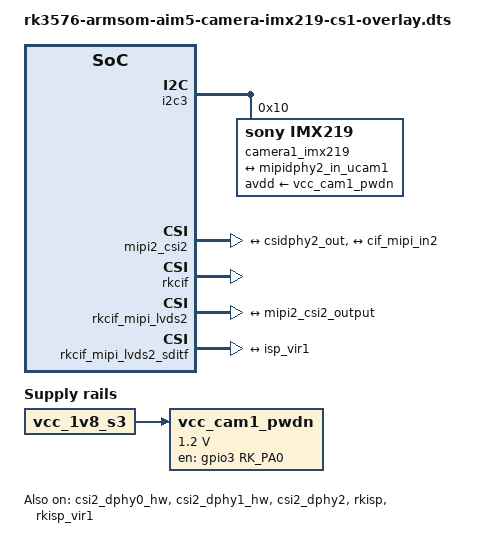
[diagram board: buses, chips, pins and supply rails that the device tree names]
/dts-v1/;
/plugin/;

#include <dt-bindings/clock/rockchip,rk3576-cru.h>
#include <dt-bindings/power/rk3576-power.h>
#include <dt-bindings/gpio/gpio.h>
#include <dt-bindings/pinctrl/rockchip.h>

/ {
	fragment@0 {
		target-path = "/";
		__overlay__ {
			vcc_cam1_pwdn: vcc-cam1-pwdn {
                compatible = "regulator-fixed";
                regulator-name = "vcc_cam1_pwdn";
                regulator-min-microvolt = <1200000>;
                regulator-max-microvolt = <1200000>;
                regulator-boot-on;
                regulator-always-on;
                enable-active-high;
                vin-supply = <&vcc_1v8_s3>;
                gpio = <&gpio3 RK_PA0 GPIO_ACTIVE_HIGH>;
            };
		};
	};
	
	fragment@1 {
		target = <&i2c3>;
		__overlay__ {
			status = "okay";
            pinctrl-names = "default";
            pinctrl-0 = <&i2c3m1_xfer>;
            #address-cells = <1>;
            #size-cells = <0>;

            camera1_imx219: camera1-imx219@10 {
                status = "okay";
                compatible = "sony,imx219";
                reg = <0x10>;
                clocks = <&cru CLK_MIPI_CAMERAOUT_M1>;
                clock-names = "xvclk";
                pinctrl-names = "rockchip,camera_default";
                pinctrl-0 = <&cam_clk1m1_clk1>;
                avdd-supply = <&vcc_cam1_pwdn>;
                rockchip,camera-module-index = <1>;
                rockchip,camera-module-facing = "back";
                rockchip,camera-module-name = "rpi-camera-v2";
                rockchip,camera-module-lens-name = "default";
                port {
                    imx219_out1: endpoint {
                        remote-endpoint = <&mipidphy2_in_ucam1>;
                        data-lanes = <1 2>;
                        clock-noncontinuous;
                        link-frequencies = /bits/ 64 <456000000>;
                    };
                };
            };
		};
	};
	
	fragment@2 {
		target = <&csi2_dphy0_hw>;

		__overlay__ {
			status = "okay";
		};
	};
	
	fragment@3 {
		target = <&csi2_dphy1_hw>;

		__overlay__ {
			status = "okay";
		};
	};

/* 2. camera1_imx219 (i2c3) -> csi2_dphy2 -> mipi2_csi2 -> rkcif_mipi_lvds2 -> isp_vir1 (video1)*/
	fragment@4 {
		target = <&csi2_dphy2>;

		__overlay__ {
			status = "okay";
            ports {
                #address-cells = <1>;
                #size-cells = <0>;

                port@0 {
                    reg = <0>;
                    #address-cells = <1>;
                    #size-cells = <0>;

                    mipidphy2_in_ucam1: endpoint@1 {
                        reg = <1>;
                        remote-endpoint = <&imx219_out1>;
                        data-lanes = <1 2>;
                    };
                };

                port@1 {
                    reg = <1>;
                    #address-cells = <1>;
                    #size-cells = <0>;

                    csidphy2_out: endpoint@0 {
                        reg = <0>;
                        remote-endpoint = <&mipi2_csi2_input>;
                    };
                };
            };
		};
	};
	
	fragment@5 {
		target = <&mipi2_csi2>;

		__overlay__ {
			status = "okay";
            ports {
                #address-cells = <1>;
                #size-cells = <0>;

                port@0 {
                    reg = <0>;
                    #address-cells = <1>;
                    #size-cells = <0>;

                    mipi2_csi2_input: endpoint@1 {
                        reg = <1>;
                        remote-endpoint = <&csidphy2_out>;
                    };
                };

                port@1 {
                    reg = <1>;
                    #address-cells = <1>;
                    #size-cells = <0>;

                    mipi2_csi2_output: endpoint@0 {
                        reg = <0>;
                        remote-endpoint = <&cif_mipi_in2>;
                    };
                };
            };
		};
	};
	
	fragment@6 {
		target = <&rkcif>;

		__overlay__ {
			status = "okay";
		};
	};
	
	fragment@7 {
		target = <&rkcif_mmu>;

		__overlay__ {
			status = "okay";
		};
	};

	fragment@8 {
		target = <&rkisp>;

		__overlay__ {
			status = "okay";
		};
	};
	
	fragment@9 {
		target = <&rkisp_mmu>;

		__overlay__ {
			status = "okay";
		};
	};

/* camera1_imx219 */
	fragment@10 {
		target = <&rkcif_mipi_lvds2>;

		__overlay__ {
			status = "okay";
            port {
                cif_mipi_in2: endpoint {
                    remote-endpoint = <&mipi2_csi2_output>;
                };
            };
		};
	};
	
	fragment@11 {
		target = <&rkcif_mipi_lvds2_sditf>;

		__overlay__ {
			status = "okay";
            port {
                mipi2_lvds_sditf: endpoint {
                    remote-endpoint = <&isp_vir1>;   
                };
            };
		};
	};
	
	fragment@12 {
		target = <&rkisp_vir1>;

		__overlay__ {
			status = "okay";
            port {
                #address-cells = <1>;
                #size-cells = <0>;

                isp_vir1: endpoint@0 {
                    reg = <0>;
                    remote-endpoint = <&mipi2_lvds_sditf>;
                };
            };
		};
	};
};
